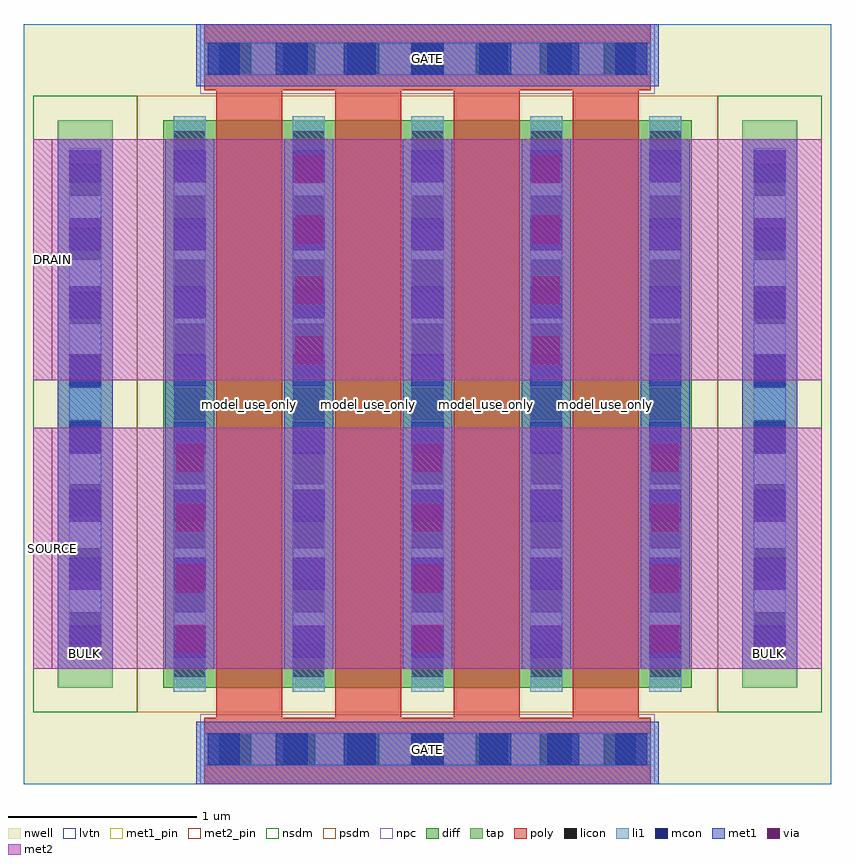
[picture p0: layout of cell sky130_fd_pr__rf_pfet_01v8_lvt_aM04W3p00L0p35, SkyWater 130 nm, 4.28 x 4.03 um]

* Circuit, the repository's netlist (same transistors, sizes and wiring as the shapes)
* Copyright 2020 The SkyWater PDK Authors
*
* Licensed under the Apache License, Version 2.0 (the "License");
* you may not use this file except in compliance with the License.
* You may obtain a copy of the License at
*
*     https://www.apache.org/licenses/LICENSE-2.0
*
* Unless required by applicable law or agreed to in writing, software
* distributed under the License is distributed on an "AS IS" BASIS,
* WITHOUT WARRANTIES OR CONDITIONS OF ANY KIND, either express or implied.
* See the License for the specific language governing permissions and
* limitations under the License.
*
* SPDX-License-Identifier: Apache-2.0


.subckt sky130_fd_pr__rf_pfet_01v8_lvt_aM04W3p00L0p35 BULK DRAIN GATE SOURCE
X0 DRAIN GATE SOURCE BULK sky130_fd_pr__pfet_01v8_lvt w=3.01e+06u l=350000u
X1 SOURCE GATE DRAIN BULK sky130_fd_pr__pfet_01v8_lvt w=3.01e+06u l=350000u
X2 DRAIN GATE SOURCE BULK sky130_fd_pr__pfet_01v8_lvt w=3.01e+06u l=350000u
X3 SOURCE GATE DRAIN BULK sky130_fd_pr__pfet_01v8_lvt w=3.01e+06u l=350000u
.ends

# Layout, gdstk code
import gdstk
lib = gdstk.Library(unit=1e-6, precision=1e-09)
def R(c, l, rs):  # rectangles x0, y0, x1, y1
    for r in rs: c.add(gdstk.rectangle(r[:2], r[2:], *l))
def A(c, l, x, y, w, h, nx, ny, dx, dy):  # array of equal rectangles
    R(c, l, [(x+i*dx, y+j*dy, x+i*dx+w, y+j*dy+h) for i in range(nx) for j in range(ny)])
nwell = (64, 20)
diff = (65, 20)
tap = (65, 44)
poly = (66, 20)
licon = (66, 44)
li1 = (67, 20)
mcon = (67, 44)
met1_pin = (68, 16)
met1 = (68, 20)
via = (68, 44)
met2_pin = (69, 16)
met2 = (69, 20)
nsdm = (93, 44)
psdm = (94, 20)
npc = (95, 20)
lvtn = (125, 44)

sky130_fd_pr__rf_pfet_01 = lib.new_cell('sky130_fd_pr__rf_pfet_01v8_lvt_aM04W3p00L0p35')
R(sky130_fd_pr__rf_pfet_01, nwell, [(0,0,4.28,4.03)])
R(sky130_fd_pr__rf_pfet_01, diff, [(0.74,0.51,3.54,3.52)])
R(sky130_fd_pr__rf_pfet_01, tap, [(0.18,0.51,0.47,3.52), (3.81,0.51,4.1,3.52)])
A(sky130_fd_pr__rf_pfet_01, poly, 1.02, 0.35, 0.35, 3.33, 4, 1, 0.63, 0)
R(sky130_fd_pr__rf_pfet_01, poly, [(0.955,0,3.325,0.35), (0.955,3.68,3.325,4.03)])
A(sky130_fd_pr__rf_pfet_01, licon, 1.035, 0.1, 0.17, 0.17, 7, 2, 0.34, 3.66)
A(sky130_fd_pr__rf_pfet_01, licon, 0.795, 0.57, 0.17, 0.17, 5, 9, 0.63, 0.34)
A(sky130_fd_pr__rf_pfet_01, licon, 0.24, 0.74, 0.17, 0.17, 1, 8, 0, 0.34)
A(sky130_fd_pr__rf_pfet_01, licon, 3.87, 0.74, 0.17, 0.17, 1, 8, 0, 0.34)
A(sky130_fd_pr__rf_pfet_01, li1, 0.795, 0.49, 0.17, 3.05, 5, 1, 0.63, 0)
A(sky130_fd_pr__rf_pfet_01, li1, 0.795, 0.67, 0.17, 2.69, 5, 1, 0.63, 0)
R(sky130_fd_pr__rf_pfet_01, li1, [(0.955,0.1,3.325,0.27), (0.24,0.66,0.41,3.37), (3.87,0.66,4.04,3.37), (0.24,0.67,0.41,3.36), (3.87,0.67,4.04,3.36), (0.955,3.76,3.325,3.93)])
A(sky130_fd_pr__rf_pfet_01, mcon, 0.975, 0.1, 0.17, 0.17, 7, 2, 0.36, 3.66)
A(sky130_fd_pr__rf_pfet_01, mcon, 0.24, 0.67, 0.17, 0.17, 1, 8, 0, 0.36)
A(sky130_fd_pr__rf_pfet_01, mcon, 0.795, 0.67, 0.17, 0.17, 5, 8, 0.63, 0.36)
A(sky130_fd_pr__rf_pfet_01, mcon, 3.87, 0.67, 0.17, 0.17, 1, 8, 0, 0.36)
R(sky130_fd_pr__rf_pfet_01, met1_pin, [(0.915,0,3.365,0.33), (0.18,0.61,0.47,0.69), (3.81,0.61,4.1,0.69), (0.915,3.7,3.365,4.03)])
A(sky130_fd_pr__rf_pfet_01, met1, 0.75, 0.61, 0.26, 1.28, 3, 1, 1.26, 0)
A(sky130_fd_pr__rf_pfet_01, met1, 0.75, 0.61, 0.26, 2.81, 5, 1, 0.63, 0)
R(sky130_fd_pr__rf_pfet_01, met1, [(0.915,0,3.365,0.33), (0.18,0.61,0.47,3.42), (3.81,0.61,4.1,3.42), (1.38,2.14,1.64,3.42), (2.64,2.14,2.9,3.42), (0.915,3.7,3.365,4.03)])
A(sky130_fd_pr__rf_pfet_01, via, 0.805, 0.695, 0.15, 0.15, 3, 4, 1.26, 0.32)
A(sky130_fd_pr__rf_pfet_01, via, 1.435, 2.225, 0.15, 0.15, 1, 4, 0, 0.32)
A(sky130_fd_pr__rf_pfet_01, via, 2.695, 2.225, 0.15, 0.15, 1, 4, 0, 0.32)
R(sky130_fd_pr__rf_pfet_01, met2_pin, [(0.05,0.61,0.15,1.89), (0.05,2.14,0.15,3.42)])
A(sky130_fd_pr__rf_pfet_01, met2, 0.75, 0.61, 0.26, 1.28, 3, 1, 1.26, 0)
R(sky130_fd_pr__rf_pfet_01, met2, [(0.05,0.61,4.23,1.89), (0.05,2.14,4.23,3.42), (1.38,2.14,1.64,3.42), (2.64,2.14,2.9,3.42)])
R(sky130_fd_pr__rf_pfet_01, nsdm, [(0.05,0.38,0.6,3.65), (3.68,0.38,4.23,3.65)])
R(sky130_fd_pr__rf_pfet_01, psdm, [(0.6,0.38,3.68,3.65)])
R(sky130_fd_pr__rf_pfet_01, npc, [(0.935,0,3.345,0.37), (0.935,3.66,3.345,4.03)])
R(sky130_fd_pr__rf_pfet_01, lvtn, [(0,0,4.28,4.03)])
sky130_fd_pr__rf_pfet_01.add(gdstk.Label('model_use_only', (1.825,2.01), layer=66, texttype=83))
sky130_fd_pr__rf_pfet_01.add(gdstk.Label('model_use_only', (1.195,2.01), layer=66, texttype=83))
sky130_fd_pr__rf_pfet_01.add(gdstk.Label('model_use_only', (2.455,2.01), layer=66, texttype=83))
sky130_fd_pr__rf_pfet_01.add(gdstk.Label('model_use_only', (3.085,2.01), layer=66, texttype=83))
sky130_fd_pr__rf_pfet_01.add(gdstk.Label('SOURCE', (0.15,1.25), layer=69, texttype=5))
sky130_fd_pr__rf_pfet_01.add(gdstk.Label('DRAIN', (0.15,2.78), layer=69, texttype=5))
sky130_fd_pr__rf_pfet_01.add(gdstk.Label('BULK', (3.95,0.69), layer=68, texttype=5))
sky130_fd_pr__rf_pfet_01.add(gdstk.Label('GATE', (2.14,0.185), layer=68, texttype=5))
sky130_fd_pr__rf_pfet_01.add(gdstk.Label('GATE', (2.14,3.845), layer=68, texttype=5))
sky130_fd_pr__rf_pfet_01.add(gdstk.Label('BULK', (0.32,0.69), layer=68, texttype=5))

lib.write_gds('sky130_fd_pr__rf_pfet_01v8_lvt_aM04W3p00L0p35.gds')
